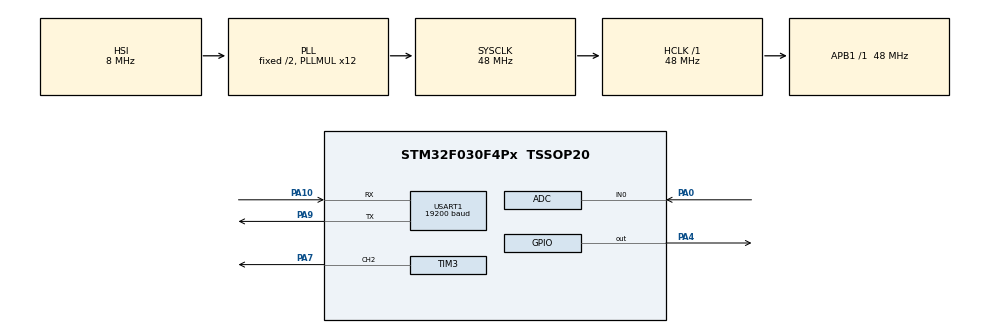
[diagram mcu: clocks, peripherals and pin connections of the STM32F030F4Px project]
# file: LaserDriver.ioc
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ADC.ClockPrescaler=ADC_CLOCK_SYNC_PCLK_DIV4
ADC.ContinuousConvMode=ENABLE
ADC.DMAContinuousRequests=ENABLE
ADC.DataAlign=ADC_DATAALIGN_RIGHT
ADC.DiscontinuousConvMode=DISABLE
ADC.EOCSelection=ADC_EOC_SINGLE_CONV
ADC.EnableAnalogWatchDog=false
ADC.ExternalTrigConvEdge=ADC_EXTERNALTRIGCONVEDGE_NONE
ADC.LowPowerAutoPowerOff=DISABLE
ADC.LowPowerAutoWait=DISABLE
ADC.Overrun=ADC_OVR_DATA_OVERWRITTEN
ADC.Resolution=ADC_RESOLUTION_12B
ADC.SamplingTime=ADC_SAMPLETIME_239CYCLES_5
ADC.ScanConvMode=ADC_SCAN_DIRECTION_FORWARD
Dma.ADC.2.Direction=DMA_PERIPH_TO_MEMORY
Dma.ADC.2.Instance=DMA1_Channel1
Dma.ADC.2.MemDataAlignment=DMA_MDATAALIGN_HALFWORD
Dma.ADC.2.MemInc=DMA_MINC_ENABLE
Dma.ADC.2.Mode=DMA_CIRCULAR
Dma.ADC.2.PeriphDataAlignment=DMA_PDATAALIGN_HALFWORD
Dma.ADC.2.PeriphInc=DMA_PINC_DISABLE
Dma.ADC.2.Priority=DMA_PRIORITY_MEDIUM
Dma.Request0=USART1_RX
Dma.Request1=USART1_TX
Dma.Request2=ADC
Dma.USART1_RX.0.Direction=DMA_PERIPH_TO_MEMORY
Dma.USART1_RX.0.Instance=DMA1_Channel3
Dma.USART1_RX.0.MemDataAlignment=DMA_MDATAALIGN_BYTE
Dma.USART1_RX.0.MemInc=DMA_MINC_ENABLE
Dma.USART1_RX.0.Mode=DMA_NORMAL
Dma.USART1_RX.0.PeriphDataAlignment=DMA_PDATAALIGN_BYTE
Dma.USART1_RX.0.PeriphInc=DMA_PINC_DISABLE
Dma.USART1_RX.0.Priority=DMA_PRIORITY_LOW
Dma.USART1_TX.1.Direction=DMA_MEMORY_TO_PERIPH
Dma.USART1_TX.1.Instance=DMA1_Channel2
Dma.USART1_TX.1.MemDataAlignment=DMA_MDATAALIGN_BYTE
Dma.USART1_TX.1.MemInc=DMA_MINC_ENABLE
Dma.USART1_TX.1.Mode=DMA_NORMAL
Dma.USART1_TX.1.PeriphDataAlignment=DMA_PDATAALIGN_BYTE
Dma.USART1_TX.1.PeriphInc=DMA_PINC_DISABLE
Dma.USART1_TX.1.Priority=DMA_PRIORITY_LOW
Mcu.Family=STM32F0
Mcu.Name=STM32F030F4Px
Mcu.Package=TSSOP20
NVIC.DMA1_Channel1_IRQn=true\:1\:0\:true\:false\:true
NVIC.DMA1_Channel2_3_IRQn=true\:0\:0\:false\:false\:true
NVIC.USART1_IRQn=true\:0\:0\:false\:false\:true
PA0.Mode=IN0
PA0.Signal=ADC_IN0
PA10.Mode=Asynchronous
PA10.Signal=USART1_RX
PA13.Mode=Serial_Wire
PA13.Signal=SYS_SWDIO
PA14.Mode=Serial_Wire
PA14.Signal=SYS_SWCLK
PA4.Signal=GPIO_Output
PA7.Signal=S_TIM3_CH2
PA9.Mode=Asynchronous
PA9.Signal=USART1_TX
ProjectManager.HeapSize=0x200
ProjectManager.StackSize=0x400
ProjectManager.TargetToolchain=MDK-ARM V5
RCC.AHBFreq_Value=48000000
RCC.APB1Freq_Value=48000000
RCC.APB1TimFreq_Value=48000000
RCC.HCLKFreq_Value=48000000
RCC.PLLMUL=RCC_PLL_MUL12
RCC.SYSCLKFreq_VALUE=48000000
RCC.SYSCLKSource=RCC_SYSCLKSOURCE_PLLCLK
SH.S_TIM3_CH2.0=TIM3_CH2,PWM Generation2 CH2
TIM3.Channel-PWM\ Generation2\ CH2=TIM_CHANNEL_2
USART1.BaudRate=19200
VP_ADC_Vref_Input.Mode=IN-Vrefint
VP_IWDG_VS_IWDG.Mode=IWDG_Activate
VP_TIM3_VS_ClockSourceINT.Mode=Internal
board=LaserDriver

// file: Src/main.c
/**
  ******************************************************************************
  * File Name          : main.c
  * Description        : Main program body
  ******************************************************************************
  *
  * COPYRIGHT(c) 2016 STMicroelectronics
  *
  * Redistribution and use in source and binary forms, with or without modification,
  * are permitted provided that the following conditions are met:
  *   1. Redistributions of source code must retain the above copyright notice,
  *      this list of conditions and the following disclaimer.
  *   2. Redistributions in binary form must reproduce the above copyright notice,
  *      this list of conditions and the following disclaimer in the documentation
  *      and/or other materials provided with the distribution.
  *   3. Neither the name of STMicroelectronics nor the names of its contributors
  *      may be used to endorse or promote products derived from this software
  *      without specific prior written permission.
  *
  * THIS SOFTWARE IS PROVIDED BY THE COPYRIGHT HOLDERS AND CONTRIBUTORS "AS IS"
  * AND ANY EXPRESS OR IMPLIED WARRANTIES, INCLUDING, BUT NOT LIMITED TO, THE
  * IMPLIED WARRANTIES OF MERCHANTABILITY AND FITNESS FOR A PARTICULAR PURPOSE ARE
  * DISCLAIMED. IN NO EVENT SHALL THE COPYRIGHT HOLDER OR CONTRIBUTORS BE LIABLE
  * FOR ANY DIRECT, INDIRECT, INCIDENTAL, SPECIAL, EXEMPLARY, OR CONSEQUENTIAL
  * DAMAGES (INCLUDING, BUT NOT LIMITED TO, PROCUREMENT OF SUBSTITUTE GOODS OR
  * SERVICES; LOSS OF USE, DATA, OR PROFITS; OR BUSINESS INTERRUPTION) HOWEVER
  * CAUSED AND ON ANY THEORY OF LIABILITY, WHETHER IN CONTRACT, STRICT LIABILITY,
  * OR TORT (INCLUDING NEGLIGENCE OR OTHERWISE) ARISING IN ANY WAY OUT OF THE USE
  * OF THIS SOFTWARE, EVEN IF ADVISED OF THE POSSIBILITY OF SUCH DAMAGE.
  *
  ******************************************************************************
  */
#include "stm32f0xx_hal.h"

/* USER CODE BEGIN Includes */
#include "laser_ctl.h"
#include "string.h"
/* USER CODE END Includes */

ADC_HandleTypeDef hadc;
DMA_HandleTypeDef hdma_adc;

IWDG_HandleTypeDef hiwdg;

TIM_HandleTypeDef htim3;

UART_HandleTypeDef huart1;
DMA_HandleTypeDef hdma_usart1_rx;
DMA_HandleTypeDef hdma_usart1_tx;

/* USER CODE BEGIN PV */
/* Private variables ---------------------------------------------------------*/
uint16_t temp_value;
uint16_t duty_cycle;

uint8_t aTxBuffer[TXBUFFERSIZE];
uint8_t aRxBuffer[RXBUFFERSIZE];

uint8_t Uart1ReadyRead = RESET;
uint8_t Uart1ReadyWrite = SET;

#define VDD_APPLI                      ((uint32_t) 3300)   /* Value of analog voltage supply Vdda (unit: mV) */
#define RANGE_12BITS                   ((uint32_t) 4095)   /* Max value with a full range of 12 bits */
#define USERBUTTON_CLICK_COUNT_MAX     ((uint32_t)    4)   /* Maximum value of variable "UserButtonClickCount" */

#define ADCCONVERTEDVALUES_BUFFER_SIZE ((uint32_t)    2)   /* Size of array containing ADC converted values: set to ADC sequencer number of ranks converted, to have a rank in each address */

/* Internal temperature sensor: constants data used for indicative values in  */
/* this example. Refer to device datasheet for min/typ/max values.            */
/* For more accurate values, device should be calibrated on offset and slope  */
/* for application temperature range.                                         */
#define INTERNAL_TEMPSENSOR_V25        ((int32_t)1430)         /* Internal temperature sensor, parameter V25 (unit: mV). Refer to device datasheet for min/typ/max values. */
#define INTERNAL_TEMPSENSOR_AVGSLOPE   ((int32_t)4300)         /* Internal temperature sensor, parameter Avg_Slope (unit: uV/DegCelsius). Refer to device datasheet for min/typ/max values. */                                                               /* This calibration parameter is intended to calculate the actual VDDA from Vrefint ADC measurement. */

/* Private macro -------------------------------------------------------------*/

/**
  * @brief  Computation of temperature (unit: degree Celsius) from the internal
  *         temperature sensor measurement by ADC.
  *         Computation is using temperature sensor standard parameters (refer
  *         to device datasheet).
  *         Computation formula:
  *         Temperature = (VTS - V25)/Avg_Slope + 25
  *         with VTS = temperature sensor voltage
  *              Avg_Slope = temperature sensor slope (unit: uV/DegCelsius)
  *              V25 = temperature sensor @25degC and Vdda 3.3V (unit: mV)
  *         Calculation validity conditioned to settings:
  *          - ADC resolution 12 bits (need to scale value if using a different
  *            resolution).
  *          - Power supply of analog voltage Vdda 3.3V (need to scale value
  *            if using a different analog voltage supply value).
  * @param TS_ADC_DATA: Temperature sensor digital value measured by ADC
  * @retval None
  */
#define COMPUTATION_TEMPERATURE_STD_PARAMS(TS_ADC_DATA)                        \
  ((((int32_t)(INTERNAL_TEMPSENSOR_V25 - (((TS_ADC_DATA) * VDD_APPLI) / RANGE_12BITS)   \
     ) * 1000                                                                  \
    ) / INTERNAL_TEMPSENSOR_AVGSLOPE                                           \
   ) + 25                                                                      \
  )

/**
  * @brief  Computation of voltage (unit: mV) from ADC measurement digital
  *         value on range 12 bits.
  *         Calculation validity conditioned to settings:
  *          - ADC resolution 12 bits (need to scale value if using a different
  *            resolution).
  *          - Power supply of analog voltage Vdda 3.3V (need to scale value
  *            if using a different analog voltage supply value).
  * @param ADC_DATA: Digital value measured by ADC
  * @retval None
  */
#define COMPUTATION_DIGITAL_12BITS_TO_VOLTAGE(ADC_DATA)                        \
  ( (ADC_DATA) * VDD_APPLI / RANGE_12BITS)

#define COMPUTATION_DIGITAL_12BITS_TO_VREF_INT_VOLTAGE(ADC_DATA)                        \
  ( VREFINT_CAL * VDD_APPLI / (ADC_DATA))

/* Variable containing ADC conversions results */
__IO uint32_t   aADCxConvertedValues[ADCCONVERTEDVALUES_BUFFER_SIZE];

__IO uint16_t VREFINT_CAL;

/* Variables for ADC conversions results computation to physical values */
uint16_t   uhADCChannel0_mVolt = 0;
uint16_t   uhADCChannel1_mVolt = 0;
uint16_t   uhADCChannel2_mVolt = 0;
 int32_t   wTemperature_DegreeCelsius = 0;
uint16_t   uhVrefInt_mVolt = 0;

/* Variable to report ADC sequencer status */
uint8_t         ubSequenceCompleted = RESET;     /* Set when all ranks of the sequence have been converted */

//uint8_t Rxbuff[RXBUFFERSIZE * 5];
/* USER CODE END PV */

void SystemClock_Config(void);
void Error_Handler(void);
static void MX_GPIO_Init(void);
static void MX_DMA_Init(void);
static void MX_ADC_Init(void);
static void MX_USART1_UART_Init(void);
static void MX_TIM3_Init(void);
static void MX_IWDG_Init(void);

void HAL_TIM_MspPostInit(TIM_HandleTypeDef *htim);

/* USER CODE BEGIN PFP */
/* Private function prototypes -----------------------------------------------*/
void RxProcessing(void);
void TxProcessing(void);
/* USER CODE END PFP */

int main(void)
{

  /* USER CODE BEGIN 1 */

	uint32_t rxtxtickstart = 0;
  rxtxtickstart = HAL_GetTick();

	uint32_t readtickstart = 0;
  readtickstart = HAL_GetTick();

//	uint32_t pidtickstart = 0;
//  pidtickstart = HAL_GetTick();

  /* USER CODE END 1 */

  /* MCU Configuration----------------------------------------------------------*/

  /* Reset of all peripherals, Initializes the Flash interface and the Systick. */
  HAL_Init();

  /* Configure the system clock */
  SystemClock_Config();

  /* Initialize all configured peripherals */
  MX_GPIO_Init();
  MX_DMA_Init();
  MX_ADC_Init();
  MX_USART1_UART_Init();
  MX_TIM3_Init();
  MX_IWDG_Init();

  /* USER CODE BEGIN 2 */

	HAL_UART_Receive_DMA(&huart1, (uint8_t*)aRxBuffer, RXBUFFERSIZE);
	laser_ctl.Init();
	/* Run the ADC calibration */
  if (HAL_ADCEx_Calibration_Start(&hadc) != HAL_OK)
  {
    /* Calibration Error */
    Error_Handler();
  }

	/* Start ADC conversion on regular group with transfer by DMA */
  if (HAL_ADC_Start_DMA(&hadc,
                        (uint32_t *)aADCxConvertedValues,
                        ADCCONVERTEDVALUES_BUFFER_SIZE
                       ) != HAL_OK)
  {
    /* Start Error */
    Error_Handler();
  }
	HAL_IWDG_Start(&hiwdg);

  /* USER CODE END 2 */

  /* Infinite loop */
  while (1)
  {

  /* USER CODE BEGIN 3 */

		HAL_IWDG_Refresh(&hiwdg);

		if((HAL_GetTick() - rxtxtickstart) > 5)
		{
			rxtxtickstart = HAL_GetTick();
			RxProcessing();
		}

		if((HAL_GetTick() - readtickstart) > DELAY_200MS)
		{
			HAL_GPIO_TogglePin(GPIOA,GPIO_PIN_4);
			readtickstart = HAL_GetTick();
			uhVrefInt_mVolt = COMPUTATION_DIGITAL_12BITS_TO_VREF_INT_VOLTAGE(aADCxConvertedValues[1]);
			uhADCChannel0_mVolt = COMPUTATION_DIGITAL_12BITS_TO_VOLTAGE(aADCxConvertedValues[0]);
			//uhADCChannel1_mVolt = COMPUTATION_DIGITAL_12BITS_TO_VOLTAGE(aADCxConvertedValues[1]);
			//uhADCChannel2_mVolt = COMPUTATION_DIGITAL_12BITS_TO_VOLTAGE(aADCxConvertedValues[2]);
			//wTemperature_DegreeCelsius = COMPUTATION_TEMPERATURE_STD_PARAMS(aADCxConvertedValues[3]);
		}

//		if((HAL_GetTick() - pidtickstart) > DELAY_200MS)
//		{
//			pidtickstart = HAL_GetTick();
//			duty_cycle = laser_ctl.PID_Algorithm(laser_ctl.GetTemp(),laser_ctl.GetCurrentTemp());
//			laser_ctl.PWMOutPut(duty_cycle);
//		}
		TxProcessing();

  }
  /* USER CODE END 3 */

}

/** System Clock Configuration
*/
void SystemClock_Config(void)
{

  RCC_OscInitTypeDef RCC_OscInitStruct;
  RCC_ClkInitTypeDef RCC_ClkInitStruct;
  RCC_PeriphCLKInitTypeDef PeriphClkInit;

  RCC_OscInitStruct.OscillatorType = RCC_OSCILLATORTYPE_HSI|RCC_OSCILLATORTYPE_LSI;
  RCC_OscInitStruct.HSIState = RCC_HSI_ON;
  RCC_OscInitStruct.HSICalibrationValue = 16;
  RCC_OscInitStruct.LSIState = RCC_LSI_ON;
  RCC_OscInitStruct.PLL.PLLState = RCC_PLL_ON;
  RCC_OscInitStruct.PLL.PLLSource = RCC_PLLSOURCE_HSI;
  RCC_OscInitStruct.PLL.PLLMUL = RCC_PLL_MUL12;
  RCC_OscInitStruct.PLL.PREDIV = RCC_PREDIV_DIV1;
  if (HAL_RCC_OscConfig(&RCC_OscInitStruct) != HAL_OK)
  {
    Error_Handler();
  }

  RCC_ClkInitStruct.ClockType = RCC_CLOCKTYPE_HCLK|RCC_CLOCKTYPE_SYSCLK
                              |RCC_CLOCKTYPE_PCLK1;
  RCC_ClkInitStruct.SYSCLKSource = RCC_SYSCLKSOURCE_PLLCLK;
  RCC_ClkInitStruct.AHBCLKDivider = RCC_SYSCLK_DIV1;
  RCC_ClkInitStruct.APB1CLKDivider = RCC_HCLK_DIV1;
  if (HAL_RCC_ClockConfig(&RCC_ClkInitStruct, FLASH_LATENCY_1) != HAL_OK)
  {
    Error_Handler();
  }

  PeriphClkInit.PeriphClockSelection = RCC_PERIPHCLK_USART1;
  PeriphClkInit.Usart1ClockSelection = RCC_USART1CLKSOURCE_PCLK1;
  if (HAL_RCCEx_PeriphCLKConfig(&PeriphClkInit) != HAL_OK)
  {
    Error_Handler();
  }

  HAL_SYSTICK_Config(HAL_RCC_GetHCLKFreq()/1000);

  HAL_SYSTICK_CLKSourceConfig(SYSTICK_CLKSOURCE_HCLK);

  /* SysTick_IRQn interrupt configuration */
  HAL_NVIC_SetPriority(SysTick_IRQn, 0, 0);
}

/* ADC init function */
static void MX_ADC_Init(void)
{

  ADC_ChannelConfTypeDef sConfig;

    /**Configure the global features of the ADC (Clock, Resolution, Data Alignment and number of conversion)
    */
  hadc.Instance = ADC1;
  hadc.Init.ClockPrescaler = ADC_CLOCK_SYNC_PCLK_DIV4;
  hadc.Init.Resolution = ADC_RESOLUTION_12B;
  hadc.Init.DataAlign = ADC_DATAALIGN_RIGHT;
  hadc.Init.ScanConvMode = ADC_SCAN_DIRECTION_FORWARD;
  hadc.Init.EOCSelection = ADC_EOC_SINGLE_CONV;
  hadc.Init.LowPowerAutoWait = DISABLE;
  hadc.Init.LowPowerAutoPowerOff = DISABLE;
  hadc.Init.ContinuousConvMode = ENABLE;
  hadc.Init.DiscontinuousConvMode = DISABLE;
  hadc.Init.ExternalTrigConvEdge = ADC_EXTERNALTRIGCONVEDGE_NONE;
  hadc.Init.DMAContinuousRequests = ENABLE;
  hadc.Init.Overrun = ADC_OVR_DATA_OVERWRITTEN;
  if (HAL_ADC_Init(&hadc) != HAL_OK)
  {
    Error_Handler();
  }

    /**Configure for the selected ADC regular channel to be converted.
    */
  sConfig.Channel = ADC_CHANNEL_0;
  sConfig.Rank = ADC_RANK_CHANNEL_NUMBER;
  sConfig.SamplingTime = ADC_SAMPLETIME_239CYCLES_5;
  if (HAL_ADC_ConfigChannel(&hadc, &sConfig) != HAL_OK)
  {
    Error_Handler();
  }

    /**Configure for the selected ADC regular channel to be converted.
    */
  sConfig.Channel = ADC_CHANNEL_VREFINT;
  if (HAL_ADC_ConfigChannel(&hadc, &sConfig) != HAL_OK)
  {
    Error_Handler();
  }

}

/* IWDG init function */
static void MX_IWDG_Init(void)
{

  hiwdg.Instance = IWDG;
  hiwdg.Init.Prescaler = IWDG_PRESCALER_4;
  hiwdg.Init.Window = 4095;
  hiwdg.Init.Reload = 4095;
  if (HAL_IWDG_Init(&hiwdg) != HAL_OK)
  {
    Error_Handler();
  }

}

/* TIM3 init function */
static void MX_TIM3_Init(void)
{

  TIM_ClockConfigTypeDef sClockSourceConfig;
  TIM_MasterConfigTypeDef sMasterConfig;
  TIM_OC_InitTypeDef sConfigOC;

  htim3.Instance = TIM3;
  htim3.Init.Prescaler = 0;
  htim3.Init.CounterMode = TIM_COUNTERMODE_UP;
  htim3.Init.Period = 0;
  htim3.Init.ClockDivision = TIM_CLOCKDIVISION_DIV1;
  if (HAL_TIM_Base_Init(&htim3) != HAL_OK)
  {
    Error_Handler();
  }

  sClockSourceConfig.ClockSource = TIM_CLOCKSOURCE_INTERNAL;
  if (HAL_TIM_ConfigClockSource(&htim3, &sClockSourceConfig) != HAL_OK)
  {
    Error_Handler();
  }

  if (HAL_TIM_PWM_Init(&htim3) != HAL_OK)
  {
    Error_Handler();
  }

  sMasterConfig.MasterOutputTrigger = TIM_TRGO_RESET;
  sMasterConfig.MasterSlaveMode = TIM_MASTERSLAVEMODE_DISABLE;
  if (HAL_TIMEx_MasterConfigSynchronization(&htim3, &sMasterConfig) != HAL_OK)
  {
    Error_Handler();
  }

  sConfigOC.OCMode = TIM_OCMODE_PWM1;
  sConfigOC.Pulse = 0;
  sConfigOC.OCPolarity = TIM_OCPOLARITY_HIGH;
  sConfigOC.OCFastMode = TIM_OCFAST_DISABLE;
  if (HAL_TIM_PWM_ConfigChannel(&htim3, &sConfigOC, TIM_CHANNEL_2) != HAL_OK)
  {
    Error_Handler();
  }

  HAL_TIM_MspPostInit(&htim3);

}

/* USART1 init function */
static void MX_USART1_UART_Init(void)
{

  huart1.Instance = USART1;
  huart1.Init.BaudRate = 19200;
  huart1.Init.WordLength = UART_WORDLENGTH_8B;
  huart1.Init.StopBits = UART_STOPBITS_1;
  huart1.Init.Parity = UART_PARITY_NONE;
  huart1.Init.Mode = UART_MODE_TX_RX;
  huart1.Init.HwFlowCtl = UART_HWCONTROL_NONE;
  huart1.Init.OverSampling = UART_OVERSAMPLING_16;
  huart1.Init.OneBitSampling = UART_ONE_BIT_SAMPLE_DISABLE;
  huart1.AdvancedInit.AdvFeatureInit = UART_ADVFEATURE_NO_INIT;
  if (HAL_UART_Init(&huart1) != HAL_OK)
  {
    Error_Handler();
  }

}

static void MX_DMA_Init(void)
{
  /* DMA controller clock enable */
  __HAL_RCC_DMA1_CLK_ENABLE();

  /* DMA interrupt init */
  /* DMA1_Channel1_IRQn interrupt configuration */
  HAL_NVIC_SetPriority(DMA1_Channel1_IRQn, 1, 0);
  HAL_NVIC_EnableIRQ(DMA1_Channel1_IRQn);
  /* DMA1_Channel2_3_IRQn interrupt configuration */
  HAL_NVIC_SetPriority(DMA1_Channel2_3_IRQn, 0, 0);
  HAL_NVIC_EnableIRQ(DMA1_Channel2_3_IRQn);

}

/** Configure pins as
        * Analog
        * Input
        * Output
        * EVENT_OUT
        * EXTI
*/
static void MX_GPIO_Init(void)
{

  GPIO_InitTypeDef GPIO_InitStruct;

  /* GPIO Ports Clock Enable */
  __HAL_RCC_GPIOA_CLK_ENABLE();

  /*Configure GPIO pin Output Level */
  HAL_GPIO_WritePin(GPIOA, GPIO_PIN_4, GPIO_PIN_RESET);

  /*Configure GPIO pin : PA4 */
  GPIO_InitStruct.Pin = GPIO_PIN_4;
  GPIO_InitStruct.Mode = GPIO_MODE_OUTPUT_PP;
  GPIO_InitStruct.Pull = GPIO_NOPULL;
  GPIO_InitStruct.Speed = GPIO_SPEED_FREQ_LOW;
  HAL_GPIO_Init(GPIOA, &GPIO_InitStruct);

}

/* USER CODE BEGIN 4 */

void RxProcessing(void)
{
	uint8_t result_crc;

	if(RxRead((uint8_t*)&laser_ctl.aRxBuffer, sizeof(CustomProtocol_TypeDef)) > 0)
	{
		result_crc = laser_ctl.getCrc8((uint8_t *)&laser_ctl.aRxBuffer.cmd);
		if(laser_ctl.aRxBuffer.crc == result_crc)
		{
			switch(laser_ctl.aRxBuffer.cmd)
			{
				case CMD_SET_TEMP:
					laser_ctl.SetTemp(laser_ctl.aRxBuffer.data);
					memcpy((uint8_t*)&laser_ctl.aTxBuffer,(uint8_t*)&laser_ctl.aRxBuffer,sizeof(CustomProtocol_TypeDef));
					TxWrite((uint8_t*)&laser_ctl.aTxBuffer, sizeof(CustomProtocol_TypeDef));
					break;
				case CMD_GET_TEMP:
					memcpy((uint8_t*)&laser_ctl.aTxBuffer,(uint8_t*)&laser_ctl.aRxBuffer,sizeof(CustomProtocol_TypeDef));
					temp_value = laser_ctl.GetCurrentTemp();
					laser_ctl.aTxBuffer.data = temp_value;
					laser_ctl.aTxBuffer.crc = laser_ctl.getCrc8((uint8_t *)&laser_ctl.aTxBuffer.cmd);
					TxWrite((uint8_t*)&laser_ctl.aTxBuffer, sizeof(CustomProtocol_TypeDef));
					break;
				default:
					break;
			}
		}
		memset((uint8_t*)&laser_ctl.aRxBuffer,0, sizeof(CustomProtocol_TypeDef));
	}
}

void TxProcessing(void)
{
	if(TxRead(aTxBuffer, sizeof(CustomProtocol_TypeDef)) > 0)
		HAL_UART_Transmit_DMA(&huart1, aTxBuffer, sizeof(CustomProtocol_TypeDef));
}
/*
  * @brief  Conversion complete callback in non blocking mode
  * @param  hadc: ADC handle
  * @retval None
  */
void HAL_ADC_ConvCpltCallback(ADC_HandleTypeDef* hadc)
{
  /* Prevent unused argument(s) compilation warning */
	//HAL_GPIO_TogglePin(GPIOA,GPIO_PIN_4);

  /* NOTE : This function should not be modified. When the callback is needed,
            function HAL_ADC_ConvCpltCallback must be implemented in the user file.
   */
}

/**
  * @brief  ADC error callback in non blocking mode
  *        (ADC conversion with interruption or transfer by DMA)
  * @param  hadc: ADC handle
  * @retval None
  */
void HAL_ADC_ErrorCallback(ADC_HandleTypeDef *hadc)
{
  /* In case of ADC error, call main error handler */
  Error_Handler();
}

/* USER CODE END 4 */

void Error_Handler(void)
{
  /* USER CODE BEGIN Error_Handler */
  /* User can add his own implementation to report the HAL error return state */
  while(1)
  {
		    /* Toggle LED1 */
    HAL_GPIO_TogglePin(GPIOA,GPIO_PIN_4);
    HAL_Delay(500);
  }
  /* USER CODE END Error_Handler */
}

/************************ (C) COPYRIGHT STMicroelectronics *****END OF FILE****/
